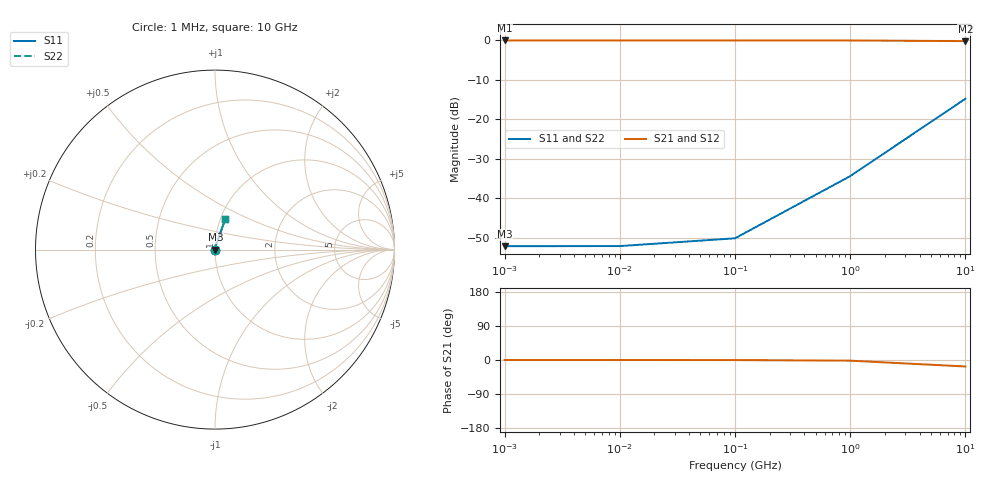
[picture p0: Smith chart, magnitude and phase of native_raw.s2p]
! Sonnet Data File
! From: em Version : 18.53-Lite
! From Project: project
! Data is NOT De-embedded
! Data File Written: 10/07/2026 08:33:04
!< HDATE 10/07/2026 08:33:04
!< MDATE 10/07/2026 08:33:04
# GHZ S RI R 50.00000
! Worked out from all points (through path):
!   5 points, 1 MHz to 10 GHz, reference 50 ohm
!   highest |S21| = -0.02 dB at 1 MHz (marker M1); lowest = -0.2 dB at 10 GHz (marker M2)
!   lowest |S11| = -52.1 dB at 1 MHz (marker M3), VSWR 1.01, Z = 50.3 + j0.00191 ohm
!   |S11| at or under -10 dB: start of sweep to end of sweep
!   |S22| runs from -52.1 to -14.8 dB; largest |S21 - S12| = 1e-12
0.001  0.00249 1.9e-05  0.9975 -3.04e-05  0.9975 -3.04e-05  0.00249 1.9e-05
0.01  0.00249 0.000189  0.9975 -0.000303  0.9975 -0.000303  0.00249 0.000189
0.1  0.0025 0.00189  0.9975 -0.00303  0.9975 -0.00303  0.0025 0.00189
1  0.00311 0.0189  0.9968 -0.0303  0.9968 -0.0303  0.00311 0.0189
10  0.0581 0.1732  0.9353 -0.2874  0.9353 -0.2874  0.0581 0.1732
